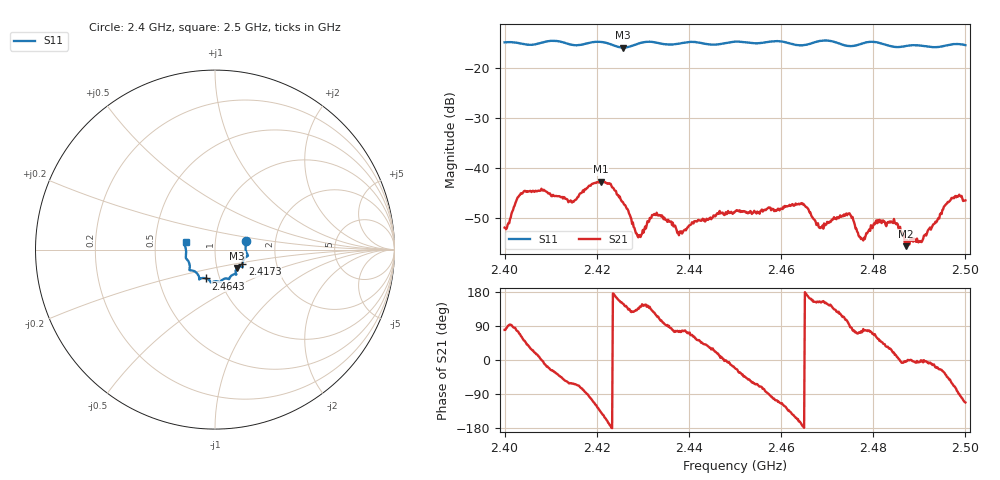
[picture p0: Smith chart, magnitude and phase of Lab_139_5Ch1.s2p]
# Hz S RI R 50
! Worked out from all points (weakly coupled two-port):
!   601 points, 2.4 GHz to 2.5 GHz, reference 50 ohm
!   highest |S21| = -42.77 dB at 2.4208 GHz (marker M1); lowest = -55.7 dB at 2.4872 GHz (marker M2)
!   lowest |S11| = -15.9 dB at 2.4257 GHz (marker M3), VSWR 1.38, Z = 62.4 - j13.1 ohm
!   |S11| at or under -10 dB: start of sweep to end of sweep
!   S12 and S22 are empty: the file has one direction only
!   S11 on the Smith chart (normalised r, x): 2.4 GHz: 1.41, +0.14; 2.4173 GHz: 1.34, -0.23; 2.4643 GHz: 0.86, -0.28; 2.5 GHz: 0.72, +0.06
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2.4e9  0.1733 0.0489  0.000463 0.00247  0 0  0 0
2.404e9  0.1719 0.0248  0.00329 0.0046  0 0  0 0
2.414333e9  0.1638 -0.0495  0.00225 -0.00413  0 0  0 0
2.416667e9  0.1532 -0.0748  0.00148 -0.00539  0 0  0 0
2.417333e9  0.1525 -0.0823  0.000732 -0.00598  0 0  0 0
2.420833e9  0.1539 -0.097  -0.00525 -0.00503  0 0  0 0
2.425667e9  0.1225 -0.1022  -0.00387 0.00237  0 0  0 0
2.429e9  0.1159 -0.1311  -0.00146 0.00138  0 0  0 0
2.433333e9  0.1129 -0.1368  -0.00137 0.00302  0 0  0 0
2.438e9  0.0828 -0.1545  0.000533 0.00223  0 0  0 0
2.45e9  0.0293 -0.1806  0.00339 -0.00134  0 0  0 0
2.464333e9  -0.0499 -0.1605  -0.0043 -0.000954  0 0  0 0
2.466667e9  -0.0758 -0.1595  -0.00299 0.00124  0 0  0 0
2.468667e9  -0.0868 -0.1656  -0.00223 0.0012  0 0  0 0
2.474667e9  -0.103 -0.1294  -0.000302 0.00345  0 0  0 0
2.477667e9  -0.1324 -0.1159  0.000511 0.00185  0 0  0 0
2.4805e9  -0.1426 -0.1118  0.00126 0.00257  0 0  0 0
2.483333e9  -0.1408 -0.0899  0.00241 0.00148  0 0  0 0
2.487167e9  -0.1561 -0.0555  0.00163 -0.000119  0 0  0 0
2.490333e9  -0.1624 -0.0392  0.0018 -2.46e-05  0 0  0 0
2.497333e9  -0.1705 0.0281  0.00204 -0.00457  0 0  0 0
2.5e9  -0.1636 0.0421  -0.00176 -0.00436  0 0  0 0
